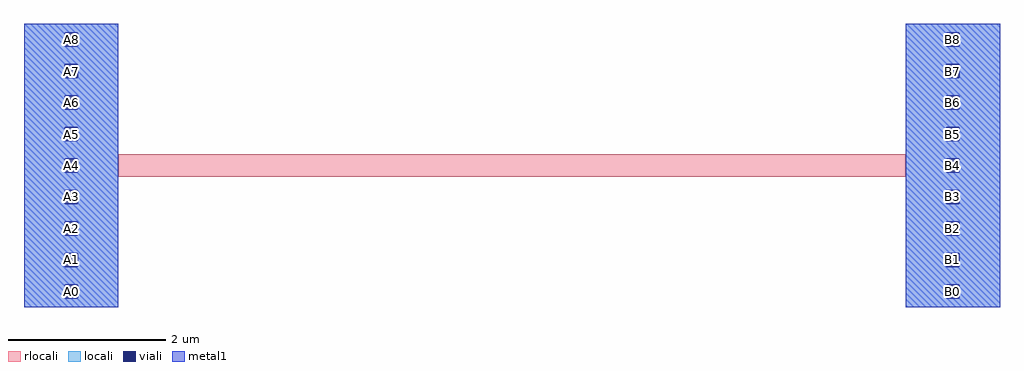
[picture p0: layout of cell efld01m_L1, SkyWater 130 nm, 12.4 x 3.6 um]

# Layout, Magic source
magic
tech sky130A
magscale 1 2
<< locali >>
rect 0 697 240 720
rect 0 663 103 697
rect 137 663 240 697
rect 0 617 240 663
rect 0 583 103 617
rect 137 583 240 617
rect 0 537 240 583
rect 0 503 103 537
rect 137 503 240 537
rect 0 457 240 503
rect 0 423 103 457
rect 137 423 240 457
rect 0 377 240 423
rect 2240 697 2480 720
rect 2240 663 2343 697
rect 2377 663 2480 697
rect 2240 617 2480 663
rect 2240 583 2343 617
rect 2377 583 2480 617
rect 2240 537 2480 583
rect 2240 503 2343 537
rect 2377 503 2480 537
rect 2240 457 2480 503
rect 2240 423 2343 457
rect 2377 423 2480 457
rect 0 343 103 377
rect 137 343 240 377
rect 0 297 240 343
rect 2240 377 2480 423
rect 2240 343 2343 377
rect 2377 343 2480 377
rect 0 263 103 297
rect 137 263 240 297
rect 0 217 240 263
rect 0 183 103 217
rect 137 183 240 217
rect 0 137 240 183
rect 0 103 103 137
rect 137 103 240 137
rect 0 57 240 103
rect 0 23 103 57
rect 137 23 240 57
rect 0 0 240 23
rect 2240 297 2480 343
rect 2240 263 2343 297
rect 2377 263 2480 297
rect 2240 217 2480 263
rect 2240 183 2343 217
rect 2377 183 2480 217
rect 2240 137 2480 183
rect 2240 103 2343 137
rect 2377 103 2480 137
rect 2240 57 2480 103
rect 2240 23 2343 57
rect 2377 23 2480 57
rect 2240 0 2480 23
<< rlocali >>
rect 240 331 2240 389
<< viali >>
rect 103 663 137 697
rect 103 583 137 617
rect 103 503 137 537
rect 103 423 137 457
rect 2343 663 2377 697
rect 2343 583 2377 617
rect 2343 503 2377 537
rect 2343 423 2377 457
rect 103 343 137 377
rect 2343 343 2377 377
rect 103 263 137 297
rect 103 183 137 217
rect 103 103 137 137
rect 103 23 137 57
rect 2343 263 2377 297
rect 2343 183 2377 217
rect 2343 103 2377 137
rect 2343 23 2377 57
<< metal1 >>
rect 0 697 240 720
rect 0 663 103 697
rect 137 663 240 697
rect 0 617 240 663
rect 0 583 103 617
rect 137 583 240 617
rect 0 537 240 583
rect 0 503 103 537
rect 137 503 240 537
rect 0 457 240 503
rect 0 423 103 457
rect 137 423 240 457
rect 0 377 240 423
rect 0 343 103 377
rect 137 343 240 377
rect 0 297 240 343
rect 0 263 103 297
rect 137 263 240 297
rect 0 217 240 263
rect 0 183 103 217
rect 137 183 240 217
rect 0 137 240 183
rect 0 103 103 137
rect 137 103 240 137
rect 0 57 240 103
rect 0 23 103 57
rect 137 23 240 57
rect 0 0 240 23
rect 2240 697 2480 720
rect 2240 663 2343 697
rect 2377 663 2480 697
rect 2240 617 2480 663
rect 2240 583 2343 617
rect 2377 583 2480 617
rect 2240 537 2480 583
rect 2240 503 2343 537
rect 2377 503 2480 537
rect 2240 457 2480 503
rect 2240 423 2343 457
rect 2377 423 2480 457
rect 2240 377 2480 423
rect 2240 343 2343 377
rect 2377 343 2480 377
rect 2240 297 2480 343
rect 2240 263 2343 297
rect 2377 263 2480 297
rect 2240 217 2480 263
rect 2240 183 2343 217
rect 2377 183 2480 217
rect 2240 137 2480 183
rect 2240 103 2343 137
rect 2377 103 2480 137
rect 2240 57 2480 103
rect 2240 23 2343 57
rect 2377 23 2480 57
rect 2240 0 2480 23
<< labels >>
flabel metal1 0 0 240 80 1 FreeSans 320 0 0 0 A0
port 1 n
flabel metal1 0 80 240 160 1 FreeSans 320 0 0 0 A1
port 2 n
flabel metal1 0 160 240 240 1 FreeSans 320 0 0 0 A2
port 3 n
flabel metal1 0 240 240 320 1 FreeSans 320 0 0 0 A3
port 4 n
flabel metal1 0 320 240 400 1 FreeSans 320 0 0 0 A4
port 5 n
flabel metal1 0 400 240 480 1 FreeSans 320 0 0 0 A5
port 6 n
flabel metal1 0 480 240 560 1 FreeSans 320 0 0 0 A6
port 7 n
flabel metal1 0 560 240 640 1 FreeSans 320 0 0 0 A7
port 8 n
flabel metal1 0 640 240 720 1 FreeSans 320 0 0 0 A8
port 9 n
flabel metal1 2240 0 2480 80 1 FreeSans 320 0 0 0 B0
port 10 n
flabel metal1 2240 80 2480 160 1 FreeSans 320 0 0 0 B1
port 11 n
flabel metal1 2240 160 2480 240 1 FreeSans 320 0 0 0 B2
port 12 n
flabel metal1 2240 240 2480 320 1 FreeSans 320 0 0 0 B3
port 13 n
flabel metal1 2240 320 2480 400 1 FreeSans 320 0 0 0 B4
port 14 n
flabel metal1 2240 400 2480 480 1 FreeSans 320 0 0 0 B5
port 15 n
flabel metal1 2240 480 2480 560 1 FreeSans 320 0 0 0 B6
port 16 n
flabel metal1 2240 560 2480 640 1 FreeSans 320 0 0 0 B7
port 17 n
flabel metal1 2240 640 2480 720 1 FreeSans 320 0 0 0 B8
port 18 n
<< end >>
